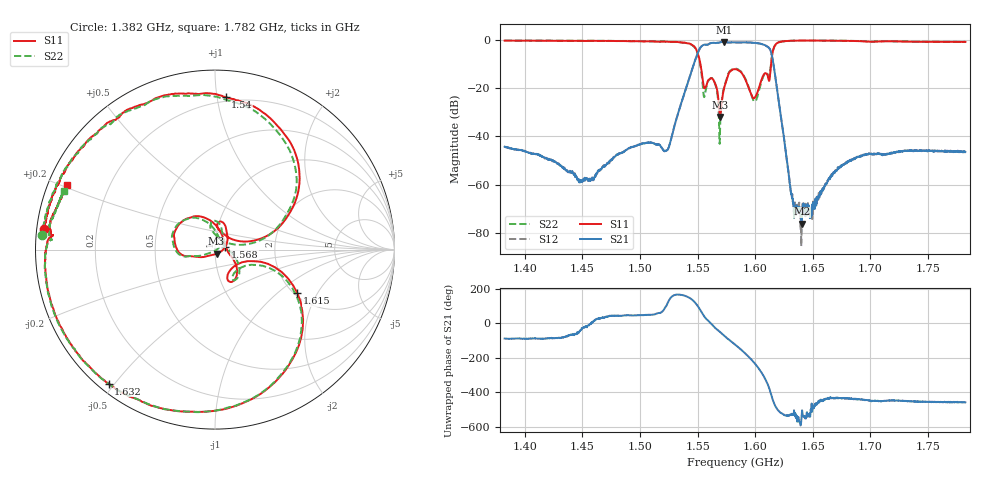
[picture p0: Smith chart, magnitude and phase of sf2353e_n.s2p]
# Hz S RI R 50
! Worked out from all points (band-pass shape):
!   1601 points, 1.382 GHz to 1.782 GHz, reference 50 ohm
!   highest |S21| = -0.90 dB at 1.573 GHz (marker M1); lowest = -76.2 dB at 1.64 GHz (marker M2)
!   |S21| within 3 dB of the highest: 1.552 GHz to 1.613 GHz (61.1 MHz wide, 3.86 % of centre)
!   lowest |S11| = -32.0 dB at 1.569 GHz (marker M3), VSWR 1.05, Z = 50.8 - j2.39 ohm
!   |S11| at or under -10 dB: 1.552 GHz to 1.614 GHz (61.35 MHz wide, 3.88 % of centre)
!   |S22| runs from -43.1 to -0.3 dB; largest |S21 - S12| = 0.0042
!   S11 on the Smith chart (normalised r, x): 1.382 GHz: 0.02, +0.06; 1.54 GHz: 0.17, +1.06; 1.568 GHz: 1.12, +0.04; 1.615 GHz: 2.08, -1.38; 1.632 GHz: 0.03, -0.48; 1.782 GHz: 0.05, +0.21
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1.3824e9  -0.9531 0.1171  0.000154 -0.00607  8e-05 -0.00602  -0.9615 0.0839
1.44915e9  -0.8761 0.3601  0.00101 -0.000682  0.00103 -0.000562  -0.8968 0.3263
1.5159e9  -0.5417 0.7321  0.0034 0.0059  0.0034 0.00589  -0.5756 0.7052
1.5244e9  -0.4151 0.8065  -0.00311 0.00464  -0.00307 0.00453  -0.4544 0.7843
1.5404e9  0.0596 0.8497  -0.0973 0.045  -0.0976 0.0448  0.0235 0.8471
1.5534e9  0.2175 0.0505  0.3258 0.6585  0.3245 0.6602  0.1887 0.0314
1.5639e9  0.0576 0.1319  0.8184 -0.2825  0.8176 -0.2818  0.0253 0.1431
1.5679e9  0.0581 0.0162  0.6429 -0.5813  0.6437 -0.5808  0.0359 0.0293
1.5694e9  0.00845 -0.0235  0.5641 -0.6825  0.5643 -0.6827  -0.00913 -0.0105
1.57265e9  -0.083 -0.042  0.3049 -0.849  0.305 -0.8476  -0.0915 -0.0356
1.5824e9  -0.2109 0.1254  -0.4852 -0.734  -0.4837 -0.7342  -0.2258 0.1139
1.5934e9  0.0219 0.1141  -0.8712 0.1285  -0.872 0.1253  -0.00852 0.1194
1.6029e9  0.089 -0.0363  -0.1282 0.8347  -0.1295 0.8343  0.0821 -0.00811
1.61015e9  0.079 -0.1773  0.6994 0.2015  0.6997 0.2016  0.1079 -0.1718
1.6149e9  0.4593 -0.2429  0.0876 -0.4051  0.0892 -0.4045  0.4545 -0.2586
1.62065e9  0.0396 -0.8916  -0.0422 -0.023  -0.0423 -0.023  0.0442 -0.8889
1.63165e9  -0.5927 -0.7467  -0.000553 -0.000141  -0.000559 -0.00024  -0.5813 -0.7552
1.6404e9  -0.7803 -0.5588  -0.000148 -4.46e-05  -0.000143 -2.71e-06  -0.7717 -0.5723
1.64915e9  -0.8707 -0.4051  -0.000208 -0.000174  -0.000232 -0.000261  -0.8659 -0.4236
1.67465e9  -0.9474 -0.0965  0.00058 -0.00231  0.000639 -0.00238  -0.9461 -0.1201
1.7159e9  -0.9175 0.1508  0.000211 -0.00429  0.000286 -0.00429  -0.9238 0.1255
1.7824e9  -0.8254 0.3608  -0.000734 -0.00467  -0.00058 -0.00471  -0.844 0.3292
